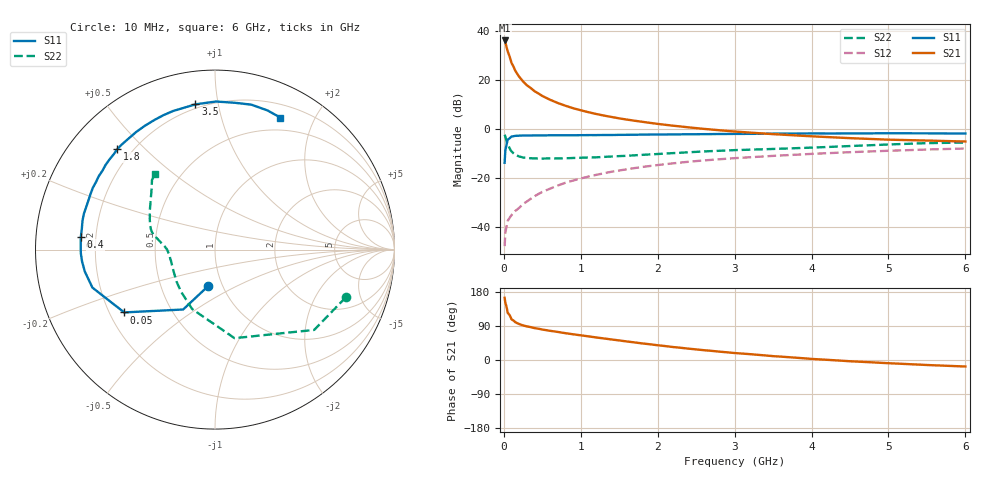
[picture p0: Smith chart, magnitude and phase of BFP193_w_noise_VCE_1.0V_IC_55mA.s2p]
! Infineon Technologies  Discrete & RF Semiconductors
! BFP193
! VCE =  1.0 V,  IC =  55 mA
! Common Emitter S-Parameters:  Jan 2017
# GHz  S  MA  R  50
!  f  S11  S21  S12  S22
! GHz  MAG  ANG  MAG  ANG  MAG  ANG  MAG  ANG
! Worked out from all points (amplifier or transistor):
!   77 points, 10 MHz to 6 GHz, reference 50 ohm
!   highest |S21| = 36.3 dB at 10 MHz (marker M1)
!   |S21| within 3 dB of that: start of sweep to 37.82 MHz
!   unconditionally stable (mu >= 1): 283.4 MHz to 3.873 GHz; 4.137 GHz to 4.908 GHz; 5.52 GHz to end of sweep (the widest 3 of 4)
!   at 130 MHz: K = 0.74, MSG = 29.6 dB, |S12| = -34.0 dB
!   at 2.2 GHz: K = 1.05, MAG = 6.3 dB, |S12| = -13.9 dB
!   at 6 GHz: K = 1.01, MAG = 0.7 dB, |S12| = -7.8 dB
!   lowest NFmin = 1.60 dB at 450 MHz
!   S11 on the Smith chart (normalised r, x): 10 MHz: 0.85, -0.36; 50 MHz: 0.26, -0.29; 400 MHz: 0.14, +0.05; 1.8 GHz: 0.14, +0.41; 3.5 GHz: 0.18, +0.86; 6 GHz: 0.34, +1.56
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0.01  0.2075 -100.8  65.47 164.1  0.0041 75.6  0.7754 -20.1
0.02  0.3779 -118.0  59.76 150.5  0.0078 71.5  0.7112 -39.0
0.05  0.6149 -145.3  39.22 124.5  0.0134 51.5  0.5052 -77.6
0.1  0.7151 -162.8  22.72 107.2  0.0177 50.9  0.3546 -111.1
0.15  0.7358 -170.5  15.6 99.6  0.0216 55.3  0.301 -128.9
0.2  0.7436 -174.9  11.84 94.8  0.0249 58.6  0.2789 -140.2
0.25  0.7478 -178.5  9.513 91.2  0.0299 60.7  0.2661 -147.5
0.3  0.7483 179.0  7.946 88.7  0.0335 63.9  0.2597 -153.3
0.4  0.7509 174.6  6.004 84.1  0.0429 66.0  0.2546 -160.5
0.5  0.7512 170.9  4.809 80.4  0.0527 66.8  0.253 -165.3
0.6  0.7557 167.6  4.028 77.1  0.0613 67.1  0.2548 -169.1
0.7  0.7572 164.7  3.459 74.1  0.071 67.3  0.2541 -171.9
0.9  0.7567 158.7  2.702 67.9  0.0899 66.0  0.2597 -175.8
1.1  0.7628 153.1  2.239 62.4  0.1084 64.0  0.2655 -179.1
1.4  0.7659 144.9  1.79 54.2  0.1361 60.6  0.2786 176.9
1.8  0.7807 134.2  1.426 43.7  0.1704 55.0  0.3011 173.0
2.1  0.7853 126.4  1.238 36.7  0.194 50.7  0.32 170.2
3.1  0.8071 105.0  0.88 16.9  0.2632 36.8  0.3799 160.8
3.5  0.8165 97.7  0.798 10.2  0.2868 32.0  0.3975 156.0
4.1  0.8241 88.2  0.708 1.7  0.32 24.4  0.4292 147.5
5.1  0.8309 74.6  0.61 -9.4  0.3691 12.6  0.4967 135.2
6  0.8207 63.7  0.564 -17.2  0.406 2.5  0.5369 128.7
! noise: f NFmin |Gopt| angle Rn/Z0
0.45  1.6  0.45  -170  0.09
0.9  1.65  0.47  -163  0.09
1.9  2.29  0.62  -131  0.25
2.4  2.64  0.64  -118  0.51
